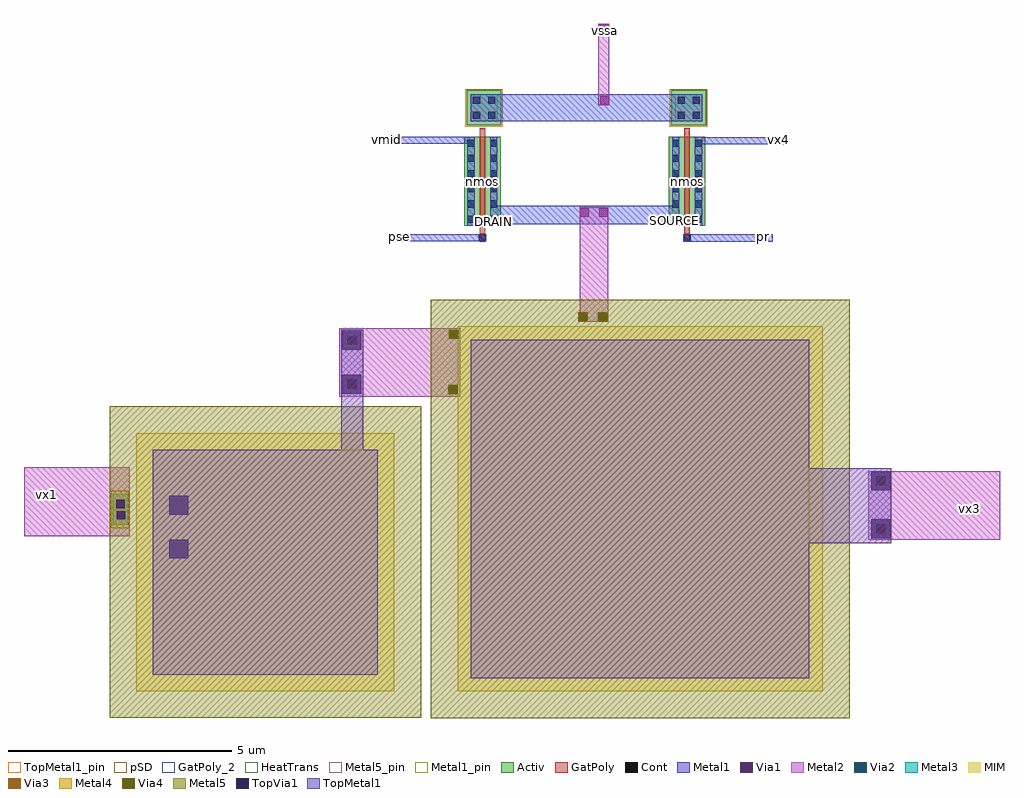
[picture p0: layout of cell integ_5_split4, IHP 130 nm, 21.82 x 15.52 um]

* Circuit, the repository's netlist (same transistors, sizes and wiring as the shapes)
* Extracted by KLayout with SG13G2 LVS runset on : 08/05/2024 06:15

* cell integ_5_split4
* pin sub!
.SUBCKT integ_5_split4 sub!
* device instance $1 r0 *1 0.848,-0.774 sg13_lv_nmos
M$1 \$8 \$6 \$1 sub! sg13_lv_nmos W=2.0 L=0.13
* device instance $2 r0 *1 5.424,-0.774 sg13_lv_nmos
M$2 \$1 \$7 \$9 sub! sg13_lv_nmos W=2.0 L=0.13
* device instance $3 r0 *1 -7.489,-12.774 cap_cmim
C$3 \$1 \$2 cap_cmim w=5.77 l=5.77 m=1
* device instance $4 r0 *1 -0.304,-12.779 cap_cmim
C$4 \$5 \$1 cap_cmim w=8.16 l=8.16 m=1
.ENDS integ_5_split4

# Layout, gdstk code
import gdstk
lib = gdstk.Library(unit=1e-6, precision=1e-09)
def R(c, l, rs):  # rectangles x0, y0, x1, y1
    for r in rs: c.add(gdstk.rectangle(r[:2], r[2:], *l))
def A(c, l, x, y, w, h, nx, ny, dx, dy):  # array of equal rectangles
    R(c, l, [(x+i*dx, y+j*dy, x+i*dx+w, y+j*dy+h) for i in range(nx) for j in range(ny)])
def P(c, l, *ps):  # polygons
    for p in ps: c.add(gdstk.Polygon(p, *l))
Activ = (1, 0)
GatPoly = (5, 0)
GatPoly_2 = (5, 2)
Cont = (6, 0)
Metal1 = (8, 0)
Metal1_pin = (8, 2)
Metal2 = (10, 0)
pSD = (14, 0)
Via1 = (19, 0)
Via2 = (29, 0)
Metal3 = (30, 0)
MIM = (36, 0)
Via3 = (49, 0)
Metal4 = (50, 0)
HeatTrans = (51, 0)
Via4 = (66, 0)
Metal5 = (67, 0)
Metal5_pin = (67, 2)
TopVia1 = (125, 0)
TopMetal1 = (126, 0)
TopMetal1_pin = (126, 2)

integ_5_split4 = lib.new_cell('integ_5_split4')
R(integ_5_split4, Activ, [(0.443,-1.774,1.253,0.226), (5.019,-1.774,5.829,0.226), (0.443,-0.074,0.743,0.226), (0.953,-0.074,1.253,0.226), (5.019,-0.074,5.319,0.226), (5.529,-0.074,5.829,0.226), (0.494,0.478,1.274,1.258), (5.07,0.478,5.85,1.258)])
R(integ_5_split4, GatPoly, [(0.783,-2.123,0.913,0.406), (5.359,-2.122,5.489,0.406)])
R(integ_5_split4, GatPoly_2, [(0.783,-1.954,0.913,0.406), (0.783,-1.954,0.913,0.406), (5.359,-1.954,5.489,0.406), (5.359,-1.954,5.489,0.406)])
A(integ_5_split4, Cont, 0.513, -1.704, 0.16, 0.16, 1, 6, 0, 0.34)
A(integ_5_split4, Cont, 1.023, -1.704, 0.16, 0.16, 1, 6, 0, 0.34)
A(integ_5_split4, Cont, 5.089, -1.704, 0.16, 0.16, 1, 6, 0, 0.34)
A(integ_5_split4, Cont, 5.599, -1.704, 0.16, 0.16, 1, 6, 0, 0.34)
R(integ_5_split4, Cont, [(5.344,-2.124,5.504,-1.964), (0.763,-2.117,0.923,-1.957), (0.634,0.618,0.794,0.778), (0.974,0.618,1.134,0.778), (5.21,0.618,5.37,0.778), (5.55,0.618,5.71,0.778), (0.634,0.958,0.794,1.118), (0.974,0.958,1.134,1.118), (5.21,0.958,5.37,1.118), (5.55,0.958,5.71,1.118)])
R(integ_5_split4, Metal1, [(5.334,-2.124,7.334,-1.964), (-1.067,-2.117,0.933,-1.957), (0.513,-1.774,0.673,0.226), (1.023,-1.774,1.183,0.226), (5.089,-1.774,5.249,0.226), (5.599,-1.774,5.759,0.226), (1.062,-1.739,5.141,-1.326), (5.604,0.054,7.604,0.214), (-1.333,0.066,0.667,0.226), (0.584,0.568,1.184,1.168), (1.12,0.568,5.76,1.168)])
R(integ_5_split4, Metal1_pin, [(0.513,-1.774,0.673,0.226), (0.513,-1.774,0.673,0.226), (1.023,-1.774,1.183,0.226), (1.023,-1.774,1.183,0.226), (5.089,-1.774,5.249,0.226), (5.089,-1.774,5.249,0.226), (5.599,-1.774,5.759,0.226), (5.599,-1.774,5.759,0.226), (0.584,0.568,1.184,1.168), (5.16,0.568,5.76,1.168)])
R(integ_5_split4, Metal2, [(9.473,-8.793,12.421,-7.254), (-9.403,-8.712,-7.034,-7.173), (9.651,-8.646,9.86,-8.442), (9.651,-7.583,9.86,-7.379), (-2.355,-5.597,0.352,-4.062), (0.084,-5.535,0.293,-5.331), (-2.177,-5.42,-1.968,-5.216), (-2.177,-4.439,-1.968,-4.235), (0.101,-4.3,0.31,-4.096), (2.993,-3.917,3.202,-3.713), (3.436,-3.917,3.645,-3.713), (3.025,-3.916,3.663,-1.357), (3.441,0.924,3.689,2.744)])
R(integ_5_split4, pSD, [(0.464,0.448,1.304,1.288), (5.04,0.448,5.88,1.288)])
R(integ_5_split4, Via1, [(9.661,-8.637,9.851,-8.447), (9.661,-7.574,9.851,-7.384), (0.094,-5.526,0.284,-5.336), (-2.167,-5.411,-1.977,-5.221), (-2.167,-4.43,-1.977,-4.24), (0.111,-4.291,0.301,-4.101), (3.03,-1.566,3.22,-1.376), (3.463,-1.566,3.653,-1.376), (3.478,0.943,3.668,1.133), (3.472,2.541,3.662,2.731)])
R(integ_5_split4, Via2, [(9.661,-8.637,9.851,-8.447), (-7.326,-8.338,-7.136,-8.148), (-7.336,-8.084,-7.146,-7.894), (9.661,-7.574,9.851,-7.384), (0.094,-5.526,0.284,-5.336), (-2.167,-5.411,-1.977,-5.221), (-2.167,-4.43,-1.977,-4.24), (0.111,-4.291,0.301,-4.101), (3.003,-3.908,3.193,-3.718), (3.446,-3.908,3.636,-3.718)])
R(integ_5_split4, Metal3, [(9.653,-8.646,9.861,-8.44), (-7.415,-8.461,-7.071,-7.768), (9.653,-7.583,9.861,-7.377), (0.086,-5.535,0.294,-5.329), (-2.175,-5.42,-1.967,-5.214), (-2.175,-4.439,-1.967,-4.233), (0.103,-4.3,0.311,-4.094), (2.995,-3.917,3.203,-3.711), (3.438,-3.917,3.646,-3.711)])
R(integ_5_split4, MIM, [(0.296,-12.179,8.456,-4.019), (-6.889,-12.174,-1.119,-6.404)])
R(integ_5_split4, Via3, [(9.661,-8.637,9.851,-8.447), (9.661,-7.574,9.851,-7.384), (0.094,-5.526,0.284,-5.336), (-2.167,-5.411,-1.977,-5.221), (-2.167,-4.43,-1.977,-4.24), (0.111,-4.291,0.301,-4.101), (3.003,-3.908,3.193,-3.718), (3.446,-3.908,3.636,-3.718)])
R(integ_5_split4, Metal4, [(9.646,-8.647,9.864,-8.437), (-7.457,-8.532,-7.05,-7.697), (9.646,-7.584,9.864,-7.374), (0.079,-5.536,0.297,-5.326), (-2.182,-5.421,-1.964,-5.211), (-2.182,-4.44,-1.964,-4.23), (0.096,-4.301,0.314,-4.091), (2.988,-3.918,3.206,-3.708), (3.431,-3.918,3.649,-3.708)])
R(integ_5_split4, HeatTrans, [(0.783,-1.954,0.913,0.406), (5.359,-1.954,5.489,0.406)])
R(integ_5_split4, Via4, [(9.661,-8.637,9.851,-8.447), (-7.326,-8.338,-7.136,-8.148), (-7.336,-8.084,-7.146,-7.894), (9.661,-7.574,9.851,-7.384), (0.094,-5.526,0.284,-5.336), (-2.167,-5.411,-1.977,-5.221), (-2.167,-4.43,-1.977,-4.24), (0.111,-4.291,0.301,-4.101), (3.003,-3.908,3.193,-3.718), (3.446,-3.908,3.636,-3.718)])
R(integ_5_split4, Metal5, [(-0.304,-12.779,9.056,-3.419), (-7.489,-12.774,-0.519,-5.804), (9.641,-8.652,9.869,-8.432), (9.641,-7.589,9.869,-7.369), (-2.187,-5.426,-1.959,-5.206), (-2.187,-4.445,-1.959,-4.225)])
R(integ_5_split4, Metal5_pin, [(-0.304,-12.779,9.056,-3.419), (-7.489,-12.774,-0.519,-5.804)])
R(integ_5_split4, TopVia1, [(-6.15,-9.21,-5.73,-8.79), (9.546,-8.752,9.966,-8.332), (-7.326,-8.338,-7.136,-8.148), (-6.15,-8.229,-5.73,-7.809), (-7.336,-8.084,-7.146,-7.894), (9.546,-7.689,9.966,-7.269), (-2.282,-5.526,-1.862,-5.106), (-2.282,-4.545,-1.862,-4.125)])
R(integ_5_split4, TopMetal1, [(0.591,-11.884,8.151,-4.324), (8.095,-8.867,9.992,-7.19)])
P(integ_5_split4, TopMetal1, [(-6.529,-11.814),(-6.529,-6.774),(-2.307,-6.774),(-2.307,-4.094),(-1.812,-4.094),(-1.812,-6.774),(-1.489,-6.774),(-1.489,-11.814)])
R(integ_5_split4, TopMetal1_pin, [(0.591,-11.884,8.151,-4.324), (-6.529,-11.814,-1.489,-6.774)])
integ_5_split4.add(gdstk.Label('nmos', (5.424,-0.774), layer=51, texttype=0))
integ_5_split4.add(gdstk.Label('nmos', (0.848,-0.774), layer=51, texttype=0))
integ_5_split4.add(gdstk.Label('vx1', (-8.889,-7.779), layer=8, texttype=25))
integ_5_split4.add(gdstk.Label('vx3', (11.75,-8.088), layer=8, texttype=25))
integ_5_split4.add(gdstk.Label('pr', (7.135,-2.019), layer=8, texttype=25))
integ_5_split4.add(gdstk.Label('vx4', (7.459,0.165), layer=8, texttype=25))
integ_5_split4.add(gdstk.Label('pse', (-0.997,-2.018), layer=8, texttype=25))
integ_5_split4.add(gdstk.Label('vmid', (-1.288,0.15), layer=8, texttype=25))
integ_5_split4.add(gdstk.Label('vssa', (3.585,2.605), layer=8, texttype=25))
integ_5_split4.add(gdstk.Label('SOURCE', (5.137,-1.646), layer=8, texttype=25))
integ_5_split4.add(gdstk.Label('DRAIN', (1.086,-1.685), layer=8, texttype=25))

lib.write_gds('integ_5_split4.gds')
